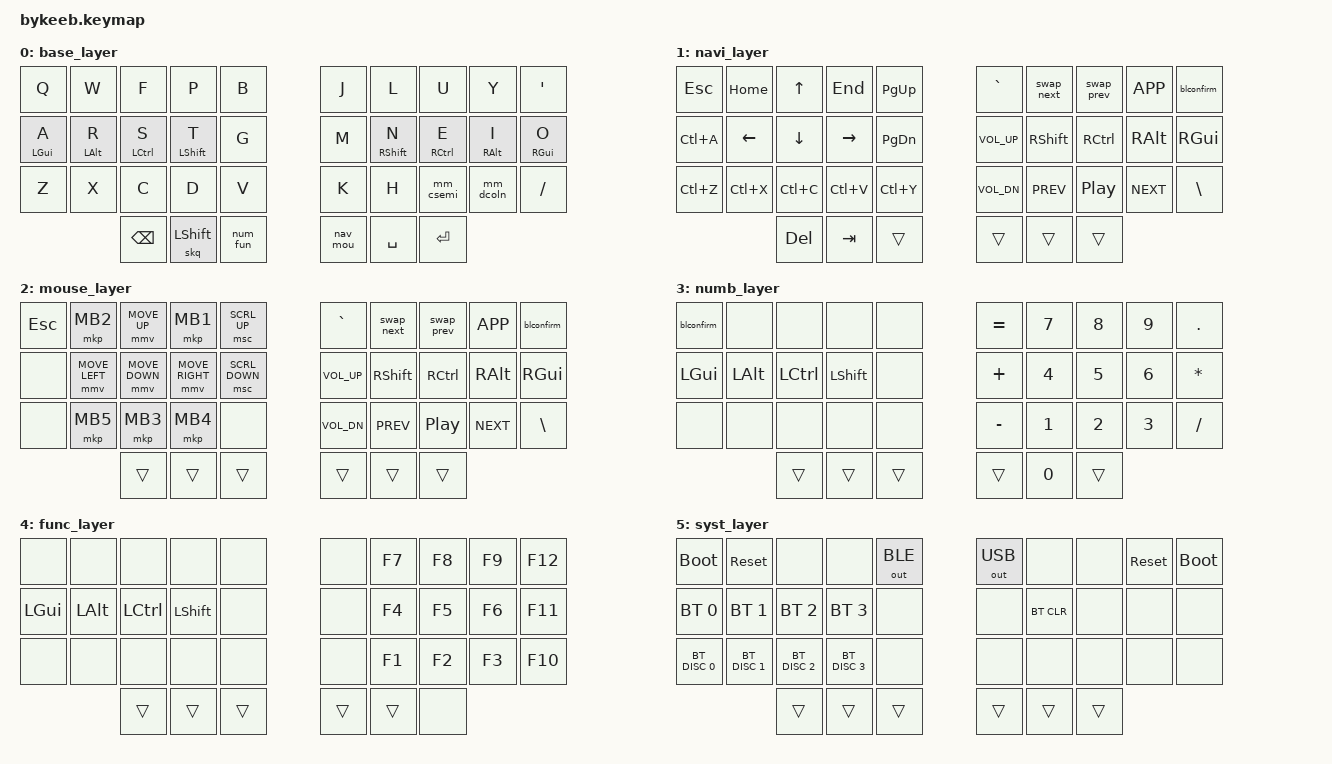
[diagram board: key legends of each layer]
/*
 * Copyright (c) 2020 The ZMK Contributors
 *
 * SPDX-License-Identifier: MIT
 */

#include <behaviors.dtsi>
#include <dt-bindings/zmk/keys.h>
#include <dt-bindings/zmk/bt.h>
#include <dt-bindings/zmk/ext_power.h>
#include <dt-bindings/zmk/outputs.h>

#define ZMK_POINTING_DEFAULT_MOVE_VAL 1200
#define ZMK_POINTING_DEFAULT_SCRL_VAL 15

#include <dt-bindings/zmk/pointing.h>

#define BASE 0
#define NAVI 1
#define MOUS 2
#define NUMB 3
#define FUNC 4
#define SYST 5
 
#include "behaviors.dtsi"
#include "combos.dtsi"

/ {
    conditional_layers {
        compatible = "zmk,conditional-layers";
        tri_layer {
            if-layers = <NAVI NUMB>;
            then-layer = <SYST>;
        };
    };

    keymap {
        compatible = "zmk,keymap";

        base_layer {
        bindings = <
            &kp Q         &kp W         &kp F         &kp P         &kp B                    &kp J         &kp L         &kp U         &kp Y         &kp SQT
            &hml LGUI A   &hml LALT R   &hml LCTL S   &hml LSHIFT T &kp G                    &kp M         &hmr RSHIFT N &hmr RCTL E   &hmr RALT I   &hmr RGUI O
            &kp Z         &kp X         &kp C         &kp D         &kp V                    &kp K         &kp H         &mm_csemi     &mm_dcoln     &kp FSLH
                                        &kp BSPC      &skq LSHIFT   &num_fun                 &nav_mou      &kp SPACE     &kp ENTER
        >;
        };

        navi_layer {
        bindings = <
            &kp ESC       &kp HOME      &kp UP        &kp END       &kp PG_UP                &kp GRAVE     &swap_next    &swap_prev    &kp K_APP     &blconfirm
            &kp LC(A)     &kp LEFT      &kp DOWN      &kp RIGHT     &kp PG_DN                &kp C_VOL_UP  &kp RSHIFT    &kp RCTRL     &kp RALT      &kp RGUI
            &kp LC(Z)     &kp LC(X)     &kp LC(C)     &kp LC(V)     &kp LC(Y)                &kp C_VOL_DN  &kp C_PREV    &kp C_PP      &kp C_NEXT    &kp BACKSLASH
                                        &kp DEL       &kp TAB       &trans                   &trans        &trans        &trans
            >;
        };

        mouse_layer {
        bindings = <
            &kp ESC       &mkp MB2      &mmv MOVE_UP  &mkp MB1      &msc SCRL_UP             &kp GRAVE     &swap_next    &swap_prev    &kp K_APP     &blconfirm
            &none         &mmv MOVE_LEFT &mmv MOVE_DOWN &mmv MOVE_RIGHT &msc SCRL_DOWN       &kp C_VOL_UP  &kp RSHIFT    &kp RCTRL     &kp RALT      &kp RGUI
            &none         &mkp MB5      &mkp MB3      &mkp MB4      &none                    &kp C_VOL_DN  &kp C_PREV    &kp C_PP      &kp C_NEXT    &kp BACKSLASH
                                        &trans        &trans        &trans                   &trans        &trans        &trans
            >;
        };

        numb_layer {
        bindings = <
            &blconfirm    &none         &none         &none         &none                   &kp EQUAL     &kp N7        &kp N8        &kp N9        &kp DOT
            &kp LGUI      &kp LALT      &kp LCTL      &kp LSHIFT    &none                   &kp PLUS      &kp N4        &kp N5        &kp N6        &kp ASTRK
            &none         &none         &none         &none         &none                   &kp MINUS     &kp N1        &kp N2        &kp N3        &kp FSLH
                                        &trans        &trans        &trans                  &trans        &kp N0        &trans
        >;
        };

        func_layer {
        bindings = <
            &none         &none         &none         &none         &none                    &none         &kp F7        &kp F8       &kp F9        &kp F12
            &kp LGUI      &kp LALT      &kp LCTL      &kp LSHIFT    &none                    &none         &kp F4        &kp F5       &kp F6        &kp F11
            &none         &none         &none         &none         &none                    &none         &kp F1        &kp F2       &kp F3        &kp F10
                                        &trans        &trans        &trans                   &trans        &trans        &none
        >;
        };

        syst_layer {
        bindings = <
            &bootloader   &sys_reset    &none         &none         &out OUT_BLE             &out OUT_USB  &none         &none         &sys_reset    &bootloader
            &bt BT_SEL 0  &bt BT_SEL 1  &bt BT_SEL 2  &bt BT_SEL 3  &none                    &none         &bt BT_CLR    &none         &none         &none
            &bt BT_DISC 0 &bt BT_DISC 1 &bt BT_DISC 2 &bt BT_DISC 3 &none                    &none         &none         &none         &none         &none
                                        &trans        &trans        &trans                   &trans        &trans        &trans
        >;
        };
    };
};
